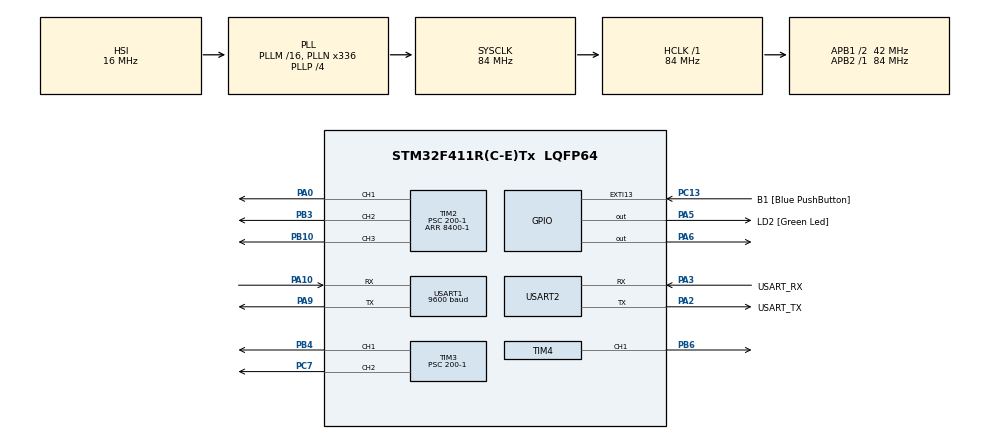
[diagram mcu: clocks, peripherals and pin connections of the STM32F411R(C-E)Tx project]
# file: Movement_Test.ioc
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Mcu.Family=STM32F4
Mcu.Name=STM32F411R(C-E)Tx
Mcu.Package=LQFP64
NVIC.PriorityGroup=NVIC_PRIORITYGROUP_0
NVIC.USART1_IRQn=true\:0\:0\:false\:false\:true\:true\:true\:true
PA0-WKUP.Signal=S_TIM2_CH1_ETR
PA10.Mode=Asynchronous
PA10.Signal=USART1_RX
PA13.GPIO_Label=TMS
PA13.Mode=Serial_Wire
PA13.Signal=SYS_JTMS-SWDIO
PA14.GPIO_Label=TCK
PA14.Mode=Serial_Wire
PA14.Signal=SYS_JTCK-SWCLK
PA2.GPIO_Label=USART_TX
PA2.Mode=Asynchronous
PA2.Signal=USART2_TX
PA3.GPIO_Label=USART_RX
PA3.Mode=Asynchronous
PA3.Signal=USART2_RX
PA5.GPIO_Label=LD2 [Green Led]
PA5.Signal=GPIO_Output
PA6.Signal=GPIO_Output
PA9.Mode=Asynchronous
PA9.Signal=USART1_TX
PB10.Signal=S_TIM2_CH3
PB3.Signal=S_TIM2_CH2
PB4.Signal=S_TIM3_CH1
PB6.Signal=S_TIM4_CH1
PC13-ANTI_TAMP.GPIO_Label=B1 [Blue PushButton]
PC13-ANTI_TAMP.GPIO_ModeDefaultEXTI=GPIO_MODE_IT_FALLING
PC13-ANTI_TAMP.Signal=GPXTI13
PC14-OSC32_IN.Mode=LSE-External-Oscillator
PC14-OSC32_IN.Signal=RCC_OSC32_IN
PC15-OSC32_OUT.Mode=LSE-External-Oscillator
PC15-OSC32_OUT.Signal=RCC_OSC32_OUT
PC7.Signal=S_TIM3_CH2
PH0\ -\ OSC_IN.Mode=HSE-External-Clock-Source
PH0\ -\ OSC_IN.Signal=RCC_OSC_IN
PH1\ -\ OSC_OUT.Mode=HSE-External-Clock-Source
PH1\ -\ OSC_OUT.Signal=RCC_OSC_OUT
ProjectManager.HeapSize=0x200
ProjectManager.StackSize=0x400
ProjectManager.TargetToolchain=STM32CubeIDE
RCC.48MHZClocksFreq_Value=84000000
RCC.AHBFreq_Value=84000000
RCC.APB1CLKDivider=RCC_HCLK_DIV2
RCC.APB1Freq_Value=42000000
RCC.APB1TimFreq_Value=84000000
RCC.APB2Freq_Value=84000000
RCC.APB2TimFreq_Value=84000000
RCC.CortexFreq_Value=84000000
RCC.FLatency-AdvancedSettings=FLASH_LATENCY_2
RCC.HCLKFreq_Value=84000000
RCC.HSE_VALUE=8000000
RCC.HSI_VALUE=16000000
RCC.PLLN=336
RCC.PLLP=RCC_PLLP_DIV4
RCC.SYSCLKFreq_VALUE=84000000
RCC.SYSCLKSource=RCC_SYSCLKSOURCE_PLLCLK
RCC.VCOOutputFreq_Value=336000000
SH.S_TIM2_CH1_ETR.0=TIM2_CH1,PWM Generation1 CH1
SH.S_TIM2_CH2.0=TIM2_CH2,PWM Generation2 CH2
SH.S_TIM2_CH3.0=TIM2_CH3,PWM Generation3 CH3
SH.S_TIM3_CH1.0=TIM3_CH1,PWM Generation1 CH1
SH.S_TIM3_CH2.0=TIM3_CH2,PWM Generation2 CH2
SH.S_TIM4_CH1.0=TIM4_CH1,PWM Generation1 CH1
TIM2.AutoReloadPreload=TIM_AUTORELOAD_PRELOAD_ENABLE
TIM2.Channel-PWM\ Generation1\ CH1=TIM_CHANNEL_1
TIM2.Channel-PWM\ Generation2\ CH2=TIM_CHANNEL_2
TIM2.Channel-PWM\ Generation3\ CH3=TIM_CHANNEL_3
TIM2.Period=8400-1
TIM2.Prescaler=200-1
TIM3.AutoReloadPreload=TIM_AUTORELOAD_PRELOAD_ENABLE
TIM3.Channel-PWM\ Generation1\ CH1=TIM_CHANNEL_1
TIM3.Channel-PWM\ Generation2\ CH2=TIM_CHANNEL_2
TIM3.Period=8400-1
TIM3.Prescaler=200-1
TIM4.Channel-PWM\ Generation1\ CH1=TIM_CHANNEL_1
TIM4.Prescaler=200-1
USART1.BaudRate=9600
USART1.VirtualMode=VM_ASYNC
USART2.VirtualMode=VM_ASYNC
VP_TIM2_VS_ClockSourceINT.Mode=Internal
VP_TIM3_VS_ClockSourceINT.Mode=Internal
VP_TIM4_VS_ClockSourceINT.Mode=Internal
board=NUCLEO-F411RE

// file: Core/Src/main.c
/* USER CODE BEGIN Header */
/**
  ******************************************************************************
  * @file           : main.c
  * @brief          : Main program body
  ******************************************************************************
  * @attention
  *
  * Copyright (c) 2025 STMicroelectronics.
  * All rights reserved.
  *
  * This software is licensed under terms that can be found in the LICENSE file
  * in the root directory of this software component.
  * If no LICENSE file comes with this software, it is provided AS-IS.
  *
  ******************************************************************************
  */
/* USER CODE END Header */
#include "main.h"

/* USER CODE BEGIN Includes */
#include "arm.h"
/* USER CODE END Includes */

/* USER CODE BEGIN PD */
#define BUFFER_LEN 128
/* USER CODE END PD */

UART_HandleTypeDef huart1;
UART_HandleTypeDef huart2;

/* USER CODE BEGIN PV */
static uint8_t current_value_base = 90;
static uint8_t current_value_shoulder = 90;
static uint8_t current_value_elbow = 90;
static uint8_t current_value_wrist_ver = 90;
static uint8_t current_value_wrist_rot = 90;
static uint8_t current_value_gripper = 90;
uint8_t RX_BUFFER[BUFFER_LEN] = {0};
/* USER CODE END PV */

void SystemClock_Config(void);
static void MX_GPIO_Init(void);
static void MX_USART2_UART_Init(void);
static void MX_TIM2_Init(void);
static void MX_TIM3_Init(void);
static void MX_TIM4_Init(void);
static void MX_USART1_UART_Init(void);

/* USER CODE BEGIN 0 */

void move_base (uint8_t angle)
{
    while(current_value_base != angle)
        	{
        		if(current_value_base > angle)
        		{
        			current_value_base--;
        		}
        		else
        		{
        			current_value_base++;
        		}

        		Set_Servo_Angle(&htim2, TIM_CHANNEL_1, current_value_base);
        	    HAL_Delay(25);
        	}
}

void move_shoulder (uint8_t angle)
{
    while((current_value_shoulder + 45) != angle)
    	{
    		if((current_value_shoulder + 45) > angle)
    		{
    			current_value_shoulder--;
    		}
    		else
    		{
    			current_value_shoulder++;
    		}

    		Set_Servo_Angle(&htim4, TIM_CHANNEL_1, (current_value_shoulder + 45));
    	    HAL_Delay(25);
    	}
}

void move_elbow (uint8_t angle)
{
	while(current_value_elbow != angle)
	{
		if(current_value_elbow > angle)
		{
			current_value_elbow--;
		}
		else
		{
			current_value_elbow++;
		}

		Set_Servo_Angle(&htim3, TIM_CHANNEL_2, current_value_elbow);
	    HAL_Delay(25);
	}
}

void move_wrist_ver (uint8_t angle)
{
     while(current_value_wrist_ver != angle)
     	{
     		if(current_value_wrist_ver > angle)
     		{
     			current_value_wrist_ver--;
     		}
     		else
     		{
     			current_value_wrist_ver++;
     		}

     		Set_Servo_Angle(&htim2, TIM_CHANNEL_3, current_value_wrist_ver);
     	    HAL_Delay(25);
     	}
}
void move_wrist_rot (uint8_t angle)
{
    while(current_value_wrist_rot != angle)
        	{
        		if(current_value_wrist_rot > angle)
        		{
        			current_value_wrist_rot--;
        		}
        		else
        		{
        			current_value_wrist_rot++;
        		}

        		Set_Servo_Angle(&htim3, TIM_CHANNEL_1, current_value_wrist_rot);
        	    HAL_Delay(25);
        	}
}

void move_gripper (uint8_t angle)
{
    while(current_value_gripper != angle)
            	{
            		if(current_value_gripper > angle)
            		{
            			current_value_gripper--;
            		}
            		else
            		{
            			current_value_gripper++;
            		}

            		Set_Servo_Angle(&htim2, TIM_CHANNEL_2, current_value_gripper);
            	    HAL_Delay(25);
            	}
}

/* USER CODE END 0 */

int main(void)
{

  /* MCU Configuration--------------------------------------------------------*/

  /* Reset of all peripherals, Initializes the Flash interface and the Systick. */
  HAL_Init();

  /* Configure the system clock */
  SystemClock_Config();

  /* Initialize all configured peripherals */
  MX_GPIO_Init();
  MX_USART2_UART_Init();
  MX_TIM2_Init();
  MX_TIM3_Init();
  MX_TIM4_Init();
  MX_USART1_UART_Init();
  /* USER CODE BEGIN 2 */
  Init_arm();

  MoveArm(45, 90, 45, 70, 45, 30);
/*  move_elbow(90);

  move_base(45);

  move_shoulder(45);

  move_wrist_ver(70);

  move_wrist_rot(45);

  move_gripper(30);*/

  /* USER CODE END 2 */

  /* Infinite loop */
  while (1)
  {

  }
}

void SystemClock_Config(void)
{
  RCC_OscInitTypeDef RCC_OscInitStruct = {0};
  RCC_ClkInitTypeDef RCC_ClkInitStruct = {0};

  /** Configure the main internal regulator output voltage
  */
  __HAL_RCC_PWR_CLK_ENABLE();
  __HAL_PWR_VOLTAGESCALING_CONFIG(PWR_REGULATOR_VOLTAGE_SCALE1);

  /** Initializes the RCC Oscillators according to the specified parameters
  * in the RCC_OscInitTypeDef structure.
  */
  RCC_OscInitStruct.OscillatorType = RCC_OSCILLATORTYPE_HSI;
  RCC_OscInitStruct.HSIState = RCC_HSI_ON;
  RCC_OscInitStruct.HSICalibrationValue = RCC_HSICALIBRATION_DEFAULT;
  RCC_OscInitStruct.PLL.PLLState = RCC_PLL_ON;
  RCC_OscInitStruct.PLL.PLLSource = RCC_PLLSOURCE_HSI;
  RCC_OscInitStruct.PLL.PLLM = 16;
  RCC_OscInitStruct.PLL.PLLN = 336;
  RCC_OscInitStruct.PLL.PLLP = RCC_PLLP_DIV4;
  RCC_OscInitStruct.PLL.PLLQ = 4;
  if (HAL_RCC_OscConfig(&RCC_OscInitStruct) != HAL_OK)
  {
    Error_Handler();
  }

  /** Initializes the CPU, AHB and APB buses clocks
  */
  RCC_ClkInitStruct.ClockType = RCC_CLOCKTYPE_HCLK|RCC_CLOCKTYPE_SYSCLK
                              |RCC_CLOCKTYPE_PCLK1|RCC_CLOCKTYPE_PCLK2;
  RCC_ClkInitStruct.SYSCLKSource = RCC_SYSCLKSOURCE_PLLCLK;
  RCC_ClkInitStruct.AHBCLKDivider = RCC_SYSCLK_DIV1;
  RCC_ClkInitStruct.APB1CLKDivider = RCC_HCLK_DIV2;
  RCC_ClkInitStruct.APB2CLKDivider = RCC_HCLK_DIV1;

  if (HAL_RCC_ClockConfig(&RCC_ClkInitStruct, FLASH_LATENCY_2) != HAL_OK)
  {
    Error_Handler();
  }
}

static void MX_TIM2_Init(void)
{

  TIM_ClockConfigTypeDef sClockSourceConfig = {0};
  TIM_MasterConfigTypeDef sMasterConfig = {0};
  TIM_OC_InitTypeDef sConfigOC = {0};

  htim2.Instance = TIM2;
  htim2.Init.Prescaler = 200-1;
  htim2.Init.CounterMode = TIM_COUNTERMODE_UP;
  htim2.Init.Period = 8400-1;
  htim2.Init.ClockDivision = TIM_CLOCKDIVISION_DIV1;
  htim2.Init.AutoReloadPreload = TIM_AUTORELOAD_PRELOAD_ENABLE;
  if (HAL_TIM_Base_Init(&htim2) != HAL_OK)
  {
    Error_Handler();
  }
  sClockSourceConfig.ClockSource = TIM_CLOCKSOURCE_INTERNAL;
  if (HAL_TIM_ConfigClockSource(&htim2, &sClockSourceConfig) != HAL_OK)
  {
    Error_Handler();
  }
  if (HAL_TIM_PWM_Init(&htim2) != HAL_OK)
  {
    Error_Handler();
  }
  sMasterConfig.MasterOutputTrigger = TIM_TRGO_RESET;
  sMasterConfig.MasterSlaveMode = TIM_MASTERSLAVEMODE_DISABLE;
  if (HAL_TIMEx_MasterConfigSynchronization(&htim2, &sMasterConfig) != HAL_OK)
  {
    Error_Handler();
  }
  sConfigOC.OCMode = TIM_OCMODE_PWM1;
  sConfigOC.Pulse = 0;
  sConfigOC.OCPolarity = TIM_OCPOLARITY_HIGH;
  sConfigOC.OCFastMode = TIM_OCFAST_DISABLE;
  if (HAL_TIM_PWM_ConfigChannel(&htim2, &sConfigOC, TIM_CHANNEL_1) != HAL_OK)
  {
    Error_Handler();
  }
  if (HAL_TIM_PWM_ConfigChannel(&htim2, &sConfigOC, TIM_CHANNEL_2) != HAL_OK)
  {
    Error_Handler();
  }
  if (HAL_TIM_PWM_ConfigChannel(&htim2, &sConfigOC, TIM_CHANNEL_3) != HAL_OK)
  {
    Error_Handler();
  }
  HAL_TIM_MspPostInit(&htim2);

}

static void MX_TIM3_Init(void)
{

  TIM_ClockConfigTypeDef sClockSourceConfig = {0};
  TIM_MasterConfigTypeDef sMasterConfig = {0};
  TIM_OC_InitTypeDef sConfigOC = {0};

  htim3.Instance = TIM3;
  htim3.Init.Prescaler = 200-1;
  htim3.Init.CounterMode = TIM_COUNTERMODE_UP;
  htim3.Init.Period = 8400-1;
  htim3.Init.ClockDivision = TIM_CLOCKDIVISION_DIV1;
  htim3.Init.AutoReloadPreload = TIM_AUTORELOAD_PRELOAD_ENABLE;
  if (HAL_TIM_Base_Init(&htim3) != HAL_OK)
  {
    Error_Handler();
  }
  sClockSourceConfig.ClockSource = TIM_CLOCKSOURCE_INTERNAL;
  if (HAL_TIM_ConfigClockSource(&htim3, &sClockSourceConfig) != HAL_OK)
  {
    Error_Handler();
  }
  if (HAL_TIM_PWM_Init(&htim3) != HAL_OK)
  {
    Error_Handler();
  }
  sMasterConfig.MasterOutputTrigger = TIM_TRGO_RESET;
  sMasterConfig.MasterSlaveMode = TIM_MASTERSLAVEMODE_DISABLE;
  if (HAL_TIMEx_MasterConfigSynchronization(&htim3, &sMasterConfig) != HAL_OK)
  {
    Error_Handler();
  }
  sConfigOC.OCMode = TIM_OCMODE_PWM1;
  sConfigOC.Pulse = 0;
  sConfigOC.OCPolarity = TIM_OCPOLARITY_HIGH;
  sConfigOC.OCFastMode = TIM_OCFAST_DISABLE;
  if (HAL_TIM_PWM_ConfigChannel(&htim3, &sConfigOC, TIM_CHANNEL_1) != HAL_OK)
  {
    Error_Handler();
  }
  if (HAL_TIM_PWM_ConfigChannel(&htim3, &sConfigOC, TIM_CHANNEL_2) != HAL_OK)
  {
    Error_Handler();
  }
  HAL_TIM_MspPostInit(&htim3);

}

static void MX_TIM4_Init(void)
{

  TIM_ClockConfigTypeDef sClockSourceConfig = {0};
  TIM_MasterConfigTypeDef sMasterConfig = {0};
  TIM_OC_InitTypeDef sConfigOC = {0};

  htim4.Instance = TIM4;
  htim4.Init.Prescaler = 200-1;
  htim4.Init.CounterMode = TIM_COUNTERMODE_UP;
  htim4.Init.Period = 65535;
  htim4.Init.ClockDivision = TIM_CLOCKDIVISION_DIV1;
  htim4.Init.AutoReloadPreload = TIM_AUTORELOAD_PRELOAD_DISABLE;
  if (HAL_TIM_Base_Init(&htim4) != HAL_OK)
  {
    Error_Handler();
  }
  sClockSourceConfig.ClockSource = TIM_CLOCKSOURCE_INTERNAL;
  if (HAL_TIM_ConfigClockSource(&htim4, &sClockSourceConfig) != HAL_OK)
  {
    Error_Handler();
  }
  if (HAL_TIM_PWM_Init(&htim4) != HAL_OK)
  {
    Error_Handler();
  }
  sMasterConfig.MasterOutputTrigger = TIM_TRGO_RESET;
  sMasterConfig.MasterSlaveMode = TIM_MASTERSLAVEMODE_DISABLE;
  if (HAL_TIMEx_MasterConfigSynchronization(&htim4, &sMasterConfig) != HAL_OK)
  {
    Error_Handler();
  }
  sConfigOC.OCMode = TIM_OCMODE_PWM1;
  sConfigOC.Pulse = 0;
  sConfigOC.OCPolarity = TIM_OCPOLARITY_HIGH;
  sConfigOC.OCFastMode = TIM_OCFAST_DISABLE;
  if (HAL_TIM_PWM_ConfigChannel(&htim4, &sConfigOC, TIM_CHANNEL_1) != HAL_OK)
  {
    Error_Handler();
  }
  HAL_TIM_MspPostInit(&htim4);

}

static void MX_USART1_UART_Init(void)
{

  huart1.Instance = USART1;
  huart1.Init.BaudRate = 9600;
  huart1.Init.WordLength = UART_WORDLENGTH_8B;
  huart1.Init.StopBits = UART_STOPBITS_1;
  huart1.Init.Parity = UART_PARITY_NONE;
  huart1.Init.Mode = UART_MODE_TX_RX;
  huart1.Init.HwFlowCtl = UART_HWCONTROL_NONE;
  huart1.Init.OverSampling = UART_OVERSAMPLING_16;
  if (HAL_UART_Init(&huart1) != HAL_OK)
  {
    Error_Handler();
  }

}

static void MX_USART2_UART_Init(void)
{

  huart2.Instance = USART2;
  huart2.Init.BaudRate = 115200;
  huart2.Init.WordLength = UART_WORDLENGTH_8B;
  huart2.Init.StopBits = UART_STOPBITS_1;
  huart2.Init.Parity = UART_PARITY_NONE;
  huart2.Init.Mode = UART_MODE_TX_RX;
  huart2.Init.HwFlowCtl = UART_HWCONTROL_NONE;
  huart2.Init.OverSampling = UART_OVERSAMPLING_16;
  if (HAL_UART_Init(&huart2) != HAL_OK)
  {
    Error_Handler();
  }

}

static void MX_GPIO_Init(void)
{
  GPIO_InitTypeDef GPIO_InitStruct = {0};

  /* GPIO Ports Clock Enable */
  __HAL_RCC_GPIOC_CLK_ENABLE();
  __HAL_RCC_GPIOH_CLK_ENABLE();
  __HAL_RCC_GPIOA_CLK_ENABLE();
  __HAL_RCC_GPIOB_CLK_ENABLE();

  /*Configure GPIO pin Output Level */
  HAL_GPIO_WritePin(GPIOA, LD2_Pin|GPIO_PIN_6, GPIO_PIN_RESET);

  /*Configure GPIO pin : B1_Pin */
  GPIO_InitStruct.Pin = B1_Pin;
  GPIO_InitStruct.Mode = GPIO_MODE_IT_FALLING;
  GPIO_InitStruct.Pull = GPIO_NOPULL;
  HAL_GPIO_Init(B1_GPIO_Port, &GPIO_InitStruct);

  /*Configure GPIO pins : LD2_Pin PA6 */
  GPIO_InitStruct.Pin = LD2_Pin|GPIO_PIN_6;
  GPIO_InitStruct.Mode = GPIO_MODE_OUTPUT_PP;
  GPIO_InitStruct.Pull = GPIO_NOPULL;
  GPIO_InitStruct.Speed = GPIO_SPEED_FREQ_LOW;
  HAL_GPIO_Init(GPIOA, &GPIO_InitStruct);

}

void Error_Handler(void)
{
  __disable_irq();
  while (1)
  {
  }
}
